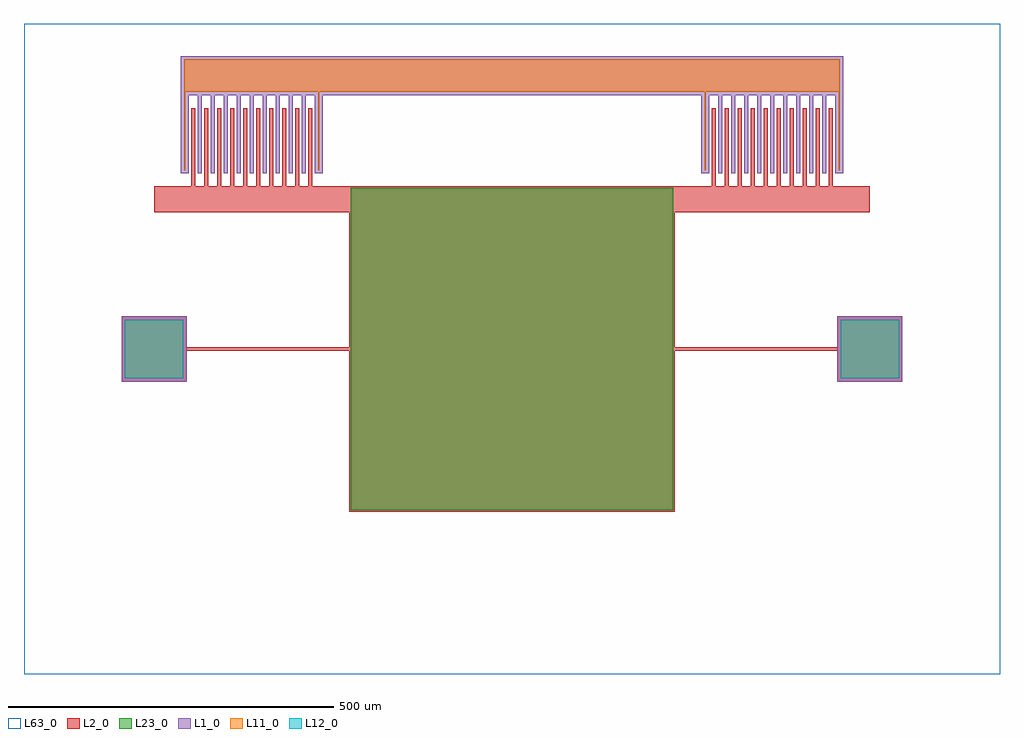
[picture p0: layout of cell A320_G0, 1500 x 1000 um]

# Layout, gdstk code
import gdstk
lib = gdstk.Library(unit=1e-6, precision=1e-09)
def R(c, l, rs):  # rectangles x0, y0, x1, y1
    for r in rs: c.add(gdstk.rectangle(r[:2], r[2:], *l))
def A(c, l, x, y, w, h, nx, ny, dx, dy):  # array of equal rectangles
    R(c, l, [(x+i*dx, y+j*dy, x+i*dx+w, y+j*dy+h) for i in range(nx) for j in range(ny)])
def P(c, l, *ps):  # polygons
    for p in ps: c.add(gdstk.Polygon(p, *l))
L1_0 = (1, 0)
L2_0 = (2, 0)
L11_0 = (11, 0)
L12_0 = (12, 0)
L23_0 = (23, 0)
L63_0 = (63, 0)

a320_g0 = lib.new_cell('A320_G0')
A(a320_g0, L1_0, -483, 270, 6, 120, 9, 1, 20, 0)
A(a320_g0, L1_0, 317, 270, 6, 120, 9, 1, 20, 0)
R(a320_g0, L1_0, [(-600,-50,-500,50), (500,-50,600,50), (-509,270,-497,390), (-303,270,-291,390), (291,270,303,390), (497,270,509,390), (-509,390,-291,450), (-291,390,291,450), (291,390,509,450)])
A(a320_g0, L2_0, -493, 250, 6, 120, 10, 1, 20, 0)
A(a320_g0, L2_0, 307, 250, 6, 120, 10, 1, 20, 0)
R(a320_g0, L2_0, [(-250,-250,250,250), (-600,-50,-500,50), (500,-50,600,50), (-500,-3,-250,3), (250,-3,500,3), (-550,210,-250,250), (250,210,550,250)])
R(a320_g0, L11_0, [(-595,-45,-505,45), (505,-45,595,45)])
P(a320_g0, L11_0, [(-504,275),(-504,445),(504,445),(504,275),(502,275),(502,395),(298,395),(298,275),(296,275),(296,395),(-296,395),(-296,275),(-298,275),(-298,395),(-502,395),(-502,275)])
R(a320_g0, L12_0, [(-595,-45,-505,45), (505,-45,595,45)])
R(a320_g0, L23_0, [(-248,-248,248,248)])
R(a320_g0, L63_0, [(-750,-500,750,500)])

lib.write_gds('A320_G0.gds')
